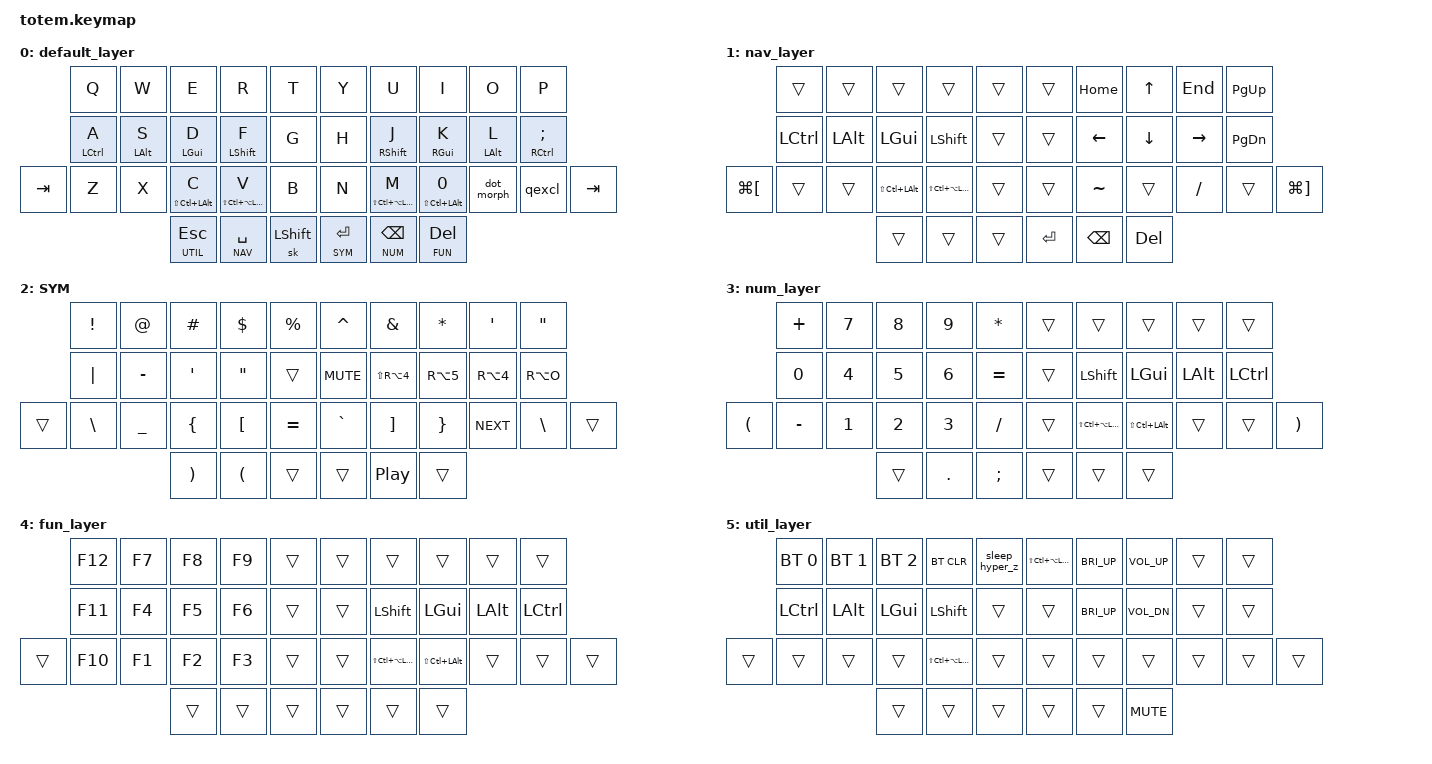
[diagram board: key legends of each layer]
// Copyright (c) 2022 The ZMK Contributors
// SPDX-License-Identifier: MIT

#include "../zmk-nodefree-config/helper.h"
#include "../zmk-nodefree-config/keypos_def/keypos_38keys.h"
#include <behaviors.dtsi>
#include <dt-bindings/zmk/keys.h>
#include <dt-bindings/zmk/bt.h>

#define XXX &none
#define TODO ___
#define ___ &trans

#define BASE 0
#define NAV 1
#define SYM 2
#define NUM 3
#define FUN 4
#define UTIL 5

#include "combos.dtsi"

// navigation bindings for back/forward and prev tab/next tab
#define BACK &kp LG(LBKT)
#define FWD &kp LG(RBKT)

// hyper and meh keys
#define HYP LS(LC(LA(LGUI)))
#define MEH LS(LC(LALT))

/* ------------------------ general config ----------------------- */

#define QUICK_TAP_MS 175

// smart-layer config
&caps_word {
    // /delete-property/ ignore-modifiers; // mods deactivate, requires PR #1451
    /delete-property/ ignore-numbers;
    continue-list = <BACKSPACE ENTER DELETE UNDERSCORE MINUS>;
};

// key-repeat config
&key_repeat {
    usage-pages = <HID_USAGE_KEY HID_USAGE_CONSUMER>; // repeat all keys
};

// sticky key aka 'one-shot mods'
&sk {
    release-after-ms = <2000>;
    quick-release;
};

// default layer-tap config
&lt {
    flavor = "balanced";
    tapping-term-ms = <200>;
    quick-tap-ms = <QUICK_TAP_MS>;
};

#define KEYS_L LT0 LT1 LT2 LT3 LT4 LM0 LM1 LM2 LM3 LM4 LB0 LB1 LB2 LB3 LB4  // left hand
#define KEYS_R RT0 RT1 RT2 RT3 RT4 RM0 RM1 RM2 RM3 RM4 RB0 RB1 RB2 RB3 RB4  // right hand
#define THUMBS LH2 LH1 LH0 RH0 RH1 RH2                                      // thumbs

#define MAKE_HRM(NAME, HOLD, TAP, TRIGGER_POS) \
    ZMK_BEHAVIOR(NAME, hold_tap, \
        flavor = "balanced"; \
        tapping-term-ms = <280>; \
        quick-tap-ms = <QUICK_TAP_MS>; \
        require-prior-idle-ms = <150>; \
        bindings = <HOLD>, <TAP>; \
        hold-trigger-key-positions = <TRIGGER_POS>; \
        hold-trigger-on-release; \
    )
MAKE_HRM(hml, &kp, &kp, KEYS_R THUMBS)  // left-hand HRMs
MAKE_HRM(hmr, &kp, &kp, KEYS_L THUMBS)  // right-hand HRMs

// special HRMs for the right meh key, as it involves a modmorph
MAKE_HRM(hmr_meh, &kp, &comma_morph, KEYS_L THUMBS)
// MAKE_HRM(hmr_lpar, &kp, &lpar, KEYS_L THUMBS)    // "    "   "   "
// MAKE_HRM(hmr_rpar, &kp, &rpar, KEYS_L THUMBS)    // "    "   "   "

// mod_morph keys
// tap: qmark | shift + tap: excl
ZMK_BEHAVIOR(qexcl, mod_morph,
    bindings = <&kp QMARK>, <&kp EXCL>;
    mods = <(MOD_LSFT|MOD_RSFT)>;
)

// tap: comma | shift + tap: semicolon
ZMK_BEHAVIOR(comma_morph, mod_morph,
    bindings = <&kp COMMA>, <&kp SEMICOLON>;
    mods = <(MOD_LSFT|MOD_RSFT)>;
)

// tap: dot | shift + tap: colon
ZMK_BEHAVIOR(dot_morph, mod_morph,
    bindings = <&kp DOT>, <&kp COLON>;
    mods = <(MOD_LSFT|MOD_RSFT)>;
)

/ {
    macros {
        sleep_hyper_z: sleep_hyper_z {
            label = "SLEEP_HYPER_Z";
            compatible = "zmk,behavior-macro";
            #binding-cells = <0>;
            bindings
                = <&macro_press &kp RSHFT>
                , <&macro_press &kp RCTRL>
                , <&macro_press &kp RALT>
                , <&macro_press &kp RGUI>
                , <&macro_tap &kp Z>
                , <&macro_release &kp RSHFT>
                , <&macro_release &kp RCTRL>
                , <&macro_release &kp RALT>
                , <&macro_release &kp RGUI>
                ;
        };
    };

// TODO: Add hyper key as HRM
    keymap {
        compatible = "zmk,keymap";
        default_layer { // ColemakDHm
            bindings = <
            &kp Q         &kp W         &kp E            &kp R            &kp T              &kp Y         &kp U              &kp I            &kp O         &kp P
            &hml LCTRL A  &hml LALT S   &hml LGUI D      &hml LSHFT F     &kp G              &kp H         &hmr RSHFT J       &hmr RGUI K      &hmr LALT L   &hmr RCTRL SEMI
&kp TAB    &kp Z         &kp X         &hml MEH C       &hml HYP V       &kp B              &kp N         &hmr HYP M         &hmr_meh MEH 0   &dot_morph    &qexcl        &kp TAB
                                        &lt UTIL ESC     &lt NAV SPACE    &sk LSHFT          &lt SYM RET       &lt NUM BSPC       &lt FUN DEL
            >;
        };
        nav_layer {
            bindings = <
            ___          ___          ___             ___             ___                ___           &kp HOME          &kp UP          &kp END       &kp PAGE_UP
            &kp LCTRL     &kp LALT     &kp LGUI       &kp LSHFT       ___                ___           &kp LEFT          &kp DOWN        &kp RIGHT     &kp PAGE_DOWN
    BACK    ___           ___          &kp MEH         &kp HYP         ___                ___          &kp TILDE         ___             &kp FSLH      ___             FWD
                                       ___            ___             ___                &kp RET       &kp BSPC          &kp DEL
            >;
        };
        sym_layer {
// ┏━━━━━━━━━━━━━━━━━━━━━━━━━━━━━━━━━━━━━━━┓
label= "SYM"                               ;
// ┗━━━━━━━━━━━━━━━━━━━━━━━━━━━━━━━━━━━━━━━┛
//             ┏━━━━━━━━━━━┳━━━━━━━━━━━┳━━━━━━━━━━━┳━━━━━━━━━━━┳━━━━━━━━━━━┓   ┏━━━━━━━━━━━┳━━━━━━━━━━━┳━━━━━━━━━━━┳━━━━━━━━━━━┳━━━━━━━━━━━┓
//             ┃     !     ┃     @     ┃     #     ┃     $     ┃     %     ┃   ┃     ˆ     ┃     &     ┃     *     ┃     '     ┃     "     ┃
//             ┣━━━━━━━━━━━╋━━━━━━━━━━━╋━━━━━━━━━━━╋━━━━━━━━━━━╋━━━━━━━━━━━┫   ┣━━━━━━━━━━━╋━━━━━━━━━━━╋━━━━━━━━━━━╋━━━━━━━━━━━╋━━━━━━━━━━━┫
//             ┃     |     ┃     -     ┃     '     ┃     "     ┃           ┃   ┃   MUTE    ┃   YEN     ┃   EURO    ┃  POUND    ┃     Ö     ┃
// ┏━━━━━━━━━━━╋━━━━━━━━━━━╋━━━━━━━━━━━╋━━━━━━━━━━━╋━━━━━━━━━━━╋━━━━━━━━━━━┫   ┣━━━━━━━━━━━╋━━━━━━━━━━━╋━━━━━━━━━━━╋━━━━━━━━━━━╋━━━━━━━━━━━╋━━━━━━━━━━━┓
// ┃           ┃     \     ┃     _     ┃           ┃           ┃           ┃   ┃   VOL-    ┃   VOL+    ┃   LAST    ┃   NEXT    ┃     \     ┃           ┃
// ┗━━━━━━━━━━━┻━━━━━━━━━━━┻━━━━━━━━━━━╋━━━━━━━━━━━╋━━━━━━━━━━━╋━━━━━━━━━━━┫   ┣━━━━━━━━━━━╋━━━━━━━━━━━╋━━━━━━━━━━━╋━━━━━━━━━━━┻━━━━━━━━━━━┻━━━━━━━━━━━┛
//                                     ┃     (     ┃     )     ┃           ┃   ┃           ┃           ┃           ┃
//                                     ┗━━━━━━━━━━━┻━━━━━━━━━━━┻━━━━━━━━━━━┛   ┗━━━━━━━━━━━┻━━━━━━━━━━━┻━━━━━━━━━━━┛
            bindings = <
// ╷           ╷           ╷           ╷           ╷           ╷           ╷   ╷           ╷           ╷           ╷           ╷           ╷           ╷

                &kp EXCL    &kp AT      &kp HASH    &kp DLLR    &kp PRCNT       &kp CARET   &kp AMPS    &kp STAR     &kp SQT     &kp DQT
                &kp PIPE    &kp MINUS    &kp SQT     &kp DQT     &trans          &kp C_MUTE  &kp LS(RA(N4)) &kp RA(N5) &kp RA(N4)   &kp RA(O)
    &trans      &kp BSLH    &kp UNDER   &kp LBRC    &kp LBKT    &kp EQUAL       &kp GRAVE   &kp RBKT    &kp RBRC    &kp C_NEXT  &kp BSLH   &trans
                                        &kp RPRN    &kp LPRN    &trans         &trans      &kp C_PP    &trans
            >;
        };
        num_layer {
            bindings = <
            &kp PLUS     &kp N7       &kp N8          &kp  N9         &kp STAR           ___           ___               ___             ___           ___
            &kp N0       &kp N4       &kp N5          &kp  N6         &kp EQUAL          ___           &kp LSHFT         &kp LGUI        &kp LALT      &kp LCTRL
  &kp LPAR  &kp MINUS    &kp N1       &kp N2          &kp  N3         &kp FSLH           ___           &kp HYP           &kp MEH         ___           ___            &kp RPAR
                                      ___             &kp  DOT        &kp SEMI           ___           ___               ___
            >;
        };
        fun_layer {
            bindings = <
            &kp F12      &kp F7       &kp F8          &kp F9          ___                ___           ___               ___             ___           ___
            &kp F11      &kp F4       &kp F5          &kp F6          ___                ___           &kp LSHFT         &kp LGUI        &kp LALT      &kp LCTRL
    ___     &kp F10      &kp F1       &kp F2          &kp F3          ___                ___           &kp HYP           &kp MEH         ___           ___             ___
                                      ___             ___             ___                ___           ___               ___
            >;
        };
        util_layer {
            bindings = <
            &bt BT_SEL 0 &bt BT_SEL 1 &bt BT_SEL 2    &bt BT_CLR      &sleep_hyper_z     &kp HYP      &kp C_BRI_UP      &kp C_VOL_UP    ___           ___
            &kp LCTRL     &kp LALT     &kp LGUI       &kp LSHFT      ___                ___           &kp C_BRI_UP      &kp C_VOL_DN    ___           ___
    ___     ___          ___          ___             &kp HYP        ___                ___           ___               ___             ___           ___             ___
                                      ___             ___             ___                ___           ___               &kp C_MUTE
            >;
        };
    };
};

/* --------------------------------- combos --------------------------------- */
/*
   ╭────────────────────┬────────────────────╮     ╭─────────────────────┬─────────────────────╮
   │  0   1   2   3   4 │  5   6   7   8   9 │     │ LT4 LT3 LT2 LT1 LT0 │ RT0 RT1 RT2 RT3 RT4 │
   │ 10  11  12  13  14 │ 15  16  17  18  19 │     │ LM4 LM3 LM2 LM1 LM0 │ RM0 RM1 RM2 RM3 RM4 │
  20 21  22  23  24  25 │ 26  27  28  29  30 31  LB5 LB4 LB3 LB2 LB1 LB0 │ RB0 RB1 RB2 RB3 RB4 RB5
   ╰───────╮ 32  33  34 │ 35  36  37 ╭───────╯     ╰───────╮ LH2 LH1 LH0 │ RH0 RH1 RH2 ╭───────╯
           ╰────────────┴────────────╯                     ╰─────────────┴─────────────╯             */
// use global-quick-tap-ms for combos (requires PR 1387)
